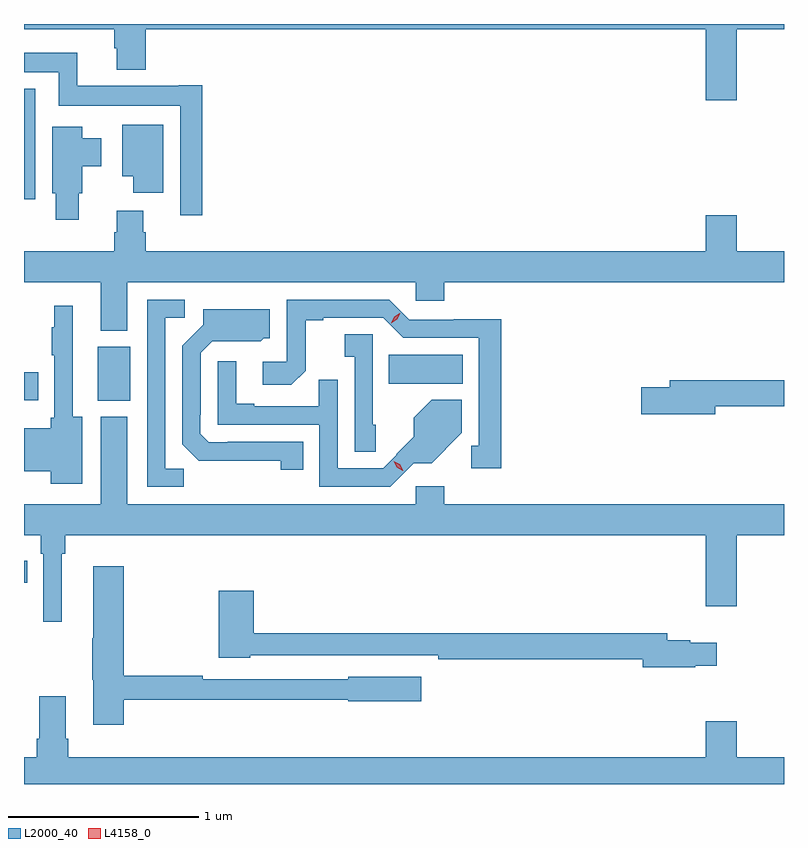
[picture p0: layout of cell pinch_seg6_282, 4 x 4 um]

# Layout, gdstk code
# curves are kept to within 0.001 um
import gdstk
lib = gdstk.Library(unit=1e-6, precision=1e-09)
def R(c, l, rs):  # rectangles x0, y0, x1, y1
    for r in rs: c.add(gdstk.rectangle(r[:2], r[2:], *l))
def P(c, l, *ps):  # polygons
    for p in ps: c.add(gdstk.Polygon(p, *l))
L2000_40 = (2000, 40)
L4158_0 = (4158, 0)

pinch_seg6_282 = lib.new_cell('pinch_seg6_282')
R(pinch_seg6_282, L2000_40, [(796.785,993.706,796.802,993.822), (797.174,994.664,797.344,994.948), (796.785,994.667,796.859,994.815), (798.706,994.754,799.093,994.906), (796.785,995.724,796.845,996.307)])
P(pinch_seg6_282, L2000_40, [(800.536,996.62),(800.785,996.62),(800.785,996.647),(796.785,996.647),(796.785,996.62),(797.261,996.62),(797.261,996.519),(797.273,996.519),(797.273,996.407),(797.426,996.407),(797.426,996.62),(800.372,996.62),(800.372,996.246),(800.536,996.246)],
  [(797.723,996.325),(797.6,996.325),(797.6,996.322),(797.066,996.322),(797.066,996.496),(796.785,996.496),(796.785,996.392),(796.968,996.392),(796.968,996.218),(797.607,996.218),(797.607,995.64),(797.723,995.64)],
  [(797.518,996.118),(797.303,996.118),(797.303,995.846),(797.36,995.846),(797.36,995.76),(797.518,995.76)],
  [(797.074,995.757),(797.092,995.757),(797.092,995.899),(797.191,995.899),(797.191,996.046),(797.092,996.046),(797.092,996.106),(796.934,996.106),(796.934,995.757),(796.952,995.757),(796.952,995.616),(797.074,995.616)],
  [(797.329,995.288),(798.846,995.288),(798.846,995.19),(798.998,995.19),(798.998,995.288),(800.785,995.288),(800.785,995.452),(800.536,995.452),(800.536,995.641),(800.372,995.641),(800.372,995.452),(797.426,995.452),(797.426,995.55),(797.413,995.55),(797.413,995.665),(797.273,995.665),(797.273,995.55),(797.261,995.55),(797.261,995.452),(796.785,995.452),(796.785,995.288),(797.189,995.288),(797.189,995.033),(797.329,995.033)],
  [(799.297,995.093),(799.046,995.093),(799.046,995.091),(798.813,995.091),(798.708,995.196),(798.168,995.196),(798.168,994.869),(798.042,994.869),(798.042,994.748),(798.192,994.748),(798.267,994.823),(798.267,995.088),(798.361,995.088),(798.361,995.1),(798.676,995.1),(798.781,994.995),(799.178,994.995),(799.178,994.428),(799.14,994.428),(799.14,994.308),(799.297,994.308)],
  [(797.625,994.307),(797.529,994.307),(797.529,995.1),(797.632,995.1),(797.632,995.196),(797.433,995.196),(797.433,994.212),(797.625,994.212)],
  [(797.092,994.579),(797.041,994.579),(797.041,995.164),(796.943,995.164),(796.943,995.051),(796.932,995.051),(796.932,994.903),(796.944,994.903),(796.944,994.575),(796.927,994.575),(796.927,994.519),(796.785,994.519),(796.785,994.292),(796.927,994.292),(796.927,994.227),(797.092,994.227)],
  [(798.254,994.449),(797.857,994.449),(797.857,994.446),(797.757,994.446),(797.712,994.491),(797.712,994.591),(797.715,994.591),(797.715,994.917),(797.775,994.977),(798.032,994.976),(798.048,994.992),(798.079,994.992),(798.079,995.146),(797.729,995.146),(797.729,995.064),(797.619,994.954),(797.619,994.434),(797.705,994.348),(798.136,994.348),(798.136,994.302),(798.254,994.302)],
  [(798.635,994.539),(798.621,994.539),(798.621,995.015),(798.474,995.015),(798.474,994.897),(798.525,994.897),(798.525,994.395),(798.635,994.395)],
  [(798.835,994.335),(798.931,994.335),(799.004,994.408),(799.002,994.409),(799.09,994.497),(799.09,994.669),(798.931,994.669),(798.836,994.574),(798.836,994.475),(798.744,994.383),(798.747,994.38),(798.675,994.308),(798.435,994.308),(798.435,994.774),(798.337,994.774),(798.337,994.635),(797.998,994.635),(797.998,994.648),(797.902,994.648),(797.902,994.873),(797.805,994.873),(797.805,994.539),(798.339,994.539),(798.339,994.212),(798.712,994.212)],
  [(800.422,994.636),(800.785,994.636),(800.785,994.772),(800.183,994.772),(800.183,994.736),(800.034,994.736),(800.034,994.594),(800.422,994.594)],
  [(796.984,993.86),(797.003,993.86),(797.003,993.956),(800.372,993.956),(800.372,993.582),(800.536,993.582),(800.536,993.956),(800.785,993.956),(800.785,994.12),(798.998,994.12),(798.998,994.213),(798.846,994.213),(798.846,994.12),(797.329,994.12),(797.329,994.579),(797.189,994.579),(797.189,994.12),(796.785,994.12),(796.785,993.956),(796.874,993.956),(796.874,993.86),(796.887,993.86),(796.887,993.501),(796.984,993.501)],
  [(797.309,993.09),(798.492,993.09),(798.492,993.082),(798.877,993.082),(798.877,993.211),(798.492,993.211),(798.492,993.198),(797.726,993.198),(797.726,993.218),(797.309,993.218),(797.309,993.793),(797.15,993.793),(797.15,993.413),(797.143,993.413),(797.143,993.195),(797.15,993.195),(797.15,992.958),(797.309,992.958)],
  [(800.318,993.269),(800.431,993.269),(800.431,993.391),(800.292,993.391),(800.292,993.404),(800.17,993.404),(800.17,993.44),(797.993,993.44),(797.993,993.664),(797.81,993.664),(797.81,993.311),(797.976,993.311),(797.976,993.324),(798.964,993.324),(798.964,993.304),(800.042,993.304),(800.042,993.262),(800.318,993.262)],
  [(800.785,992.788),(800.536,992.788),(800.536,992.977),(800.372,992.977),(800.372,992.788),(797.018,992.788),(797.018,992.884),(797.005,992.884),(797.005,993.109),(796.865,993.109),(796.865,992.884),(796.853,992.884),(796.853,992.788),(796.785,992.788),(796.785,992.647),(800.785,992.647)])
P(pinch_seg6_282, L4158_0, [(798.779,994.296),(798.748,994.315),(798.731,994.347),(798.731,994.347),(798.731,994.347),(798.763,994.329),(798.78,994.297),(798.78,994.296)],
  [(798.718,995.073),(798.718,995.073),(798.734,995.105),(798.763,995.125),(798.764,995.125),(798.764,995.125),(798.749,995.092),(798.719,995.073)])

lib.write_gds('pinch_seg6_282.gds')
